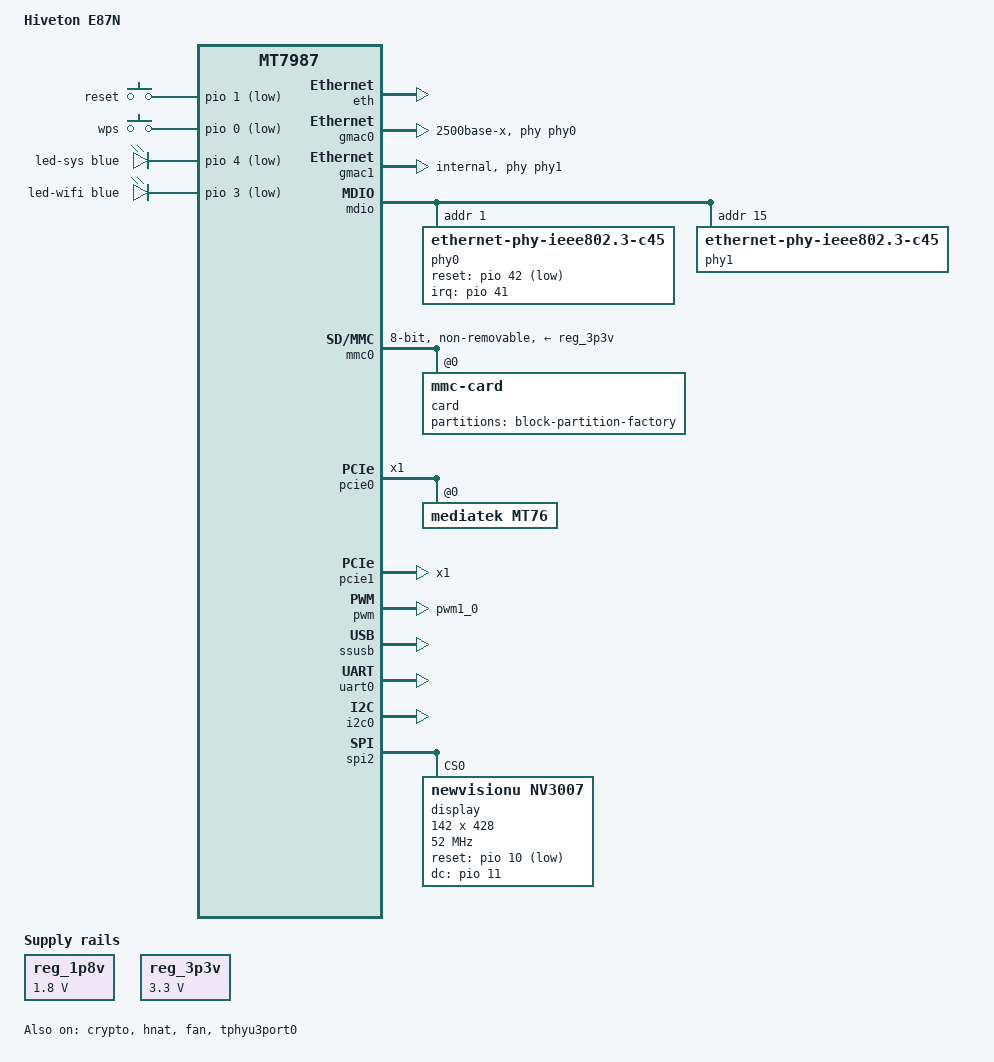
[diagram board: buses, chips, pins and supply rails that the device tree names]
// SPDX-License-Identifier: (GPL-2.0 OR MIT)

/dts-v1/;
#include "mt7987a.dtsi"
#include <dt-bindings/input/input.h>
#include <dt-bindings/regulator/richtek,rt5190a-regulator.h>

/ {
	model = "Hiveton E87N";
	compatible = "hiveton,e87n", "mediatek,mt7987a", "mediatek,mt7987";

	chosen {
		#bootargs = "console=ttyS0,115200n1 earlycon=uart8250,mmio32,0x11000000 root=PARTLABEL=rootfs rootwait pci=pcie_bus_perf";
		bootargs = "console=ttyS0,115200n1 earlycon=uart8250,mmio32,0x11000000 root=PARTLABEL=rootfs rootwait rootfstype=squashfs,f2fs fbcon=map:off fbcon=disable ";

	};

	gpio-keys {
		compatible = "gpio-keys";

		reset {
			label = "reset";
			linux,code = <KEY_RESTART>;
			gpios = <&pio 1 GPIO_ACTIVE_LOW>;
			debounce-interval = <10>;
		};

		wps {
			label = "wps";
			linux,code = <KEY_WPS_BUTTON>;
			gpios = <&pio 0 GPIO_ACTIVE_LOW>;
			debounce-interval = <10>;
		};
	};

	gpio-leds {
		compatible = "gpio-leds";

		led-sys {
			gpios = <&pio 4 GPIO_ACTIVE_LOW>;
			color = <LED_COLOR_ID_BLUE>;
			function = LED_FUNCTION_POWER;
		};

		led-wifi {
			gpios = <&pio 3 GPIO_ACTIVE_LOW>;
			color = <LED_COLOR_ID_BLUE>;
			function = LED_FUNCTION_STATUS;
		};
	};

	/* use pwm0 as led: share with fan/pwm_rgb */
	pwm_led {
		pinctrl-names = "default";
		pinctrl-0 = <&pwm_pins>;
		status = "disabled";

		led {
			pwms = <&pwm 0 50000 0>;
			max-brightness = <255>;
			active-low;
			linux,default-trigger = "default-on";
		};
	};

	reg_1p8v: regulator-1p8v {
		compatible = "regulator-fixed";
		regulator-name = "fixed-1.8V";
		regulator-min-microvolt = <1800000>;
		regulator-max-microvolt = <1800000>;
		regulator-boot-on;
		regulator-always-on;
	};

	reg_3p3v: regulator-3p3v {
		compatible = "regulator-fixed";
		regulator-name = "fixed-3.3V";
		regulator-min-microvolt = <3300000>;
		regulator-max-microvolt = <3300000>;
		regulator-boot-on;
		regulator-always-on;
	};
};

&firmware {
	status = "okay";
};

&crypto {
	status = "okay";
};

&hnat {
	mtketh-wan = "eth1";
	mtketh-lan = "eth0";
	mtketh-lan2 = "eth1";
	mtketh-ppd = "eth1";
	mtketh-max-gmac = <2>;
	mtketh-ppe-num = <2>;
	ext-devices-prefix = "usb","wwan","rmnet","eth3","eth2","phy";
	status = "okay";
};

&eth {
	status = "okay";
};

&fan {
	pinctrl-names = "default";
	pinctrl-0 = <&pwm_fan_pins>;
	compatible = "pwm-fan";
	#cooling-cells = <2>;
	cooling-levels = <0 10 20 30 40 50 60 70 80 90 100 110 120 130 140 150 160 170 180 190 200 210 220 240 255>;
	pwms = <&pwm 1 50000 0>;
	status = "okay";
};

&gmac0 {
	phy-mode = "2500base-x";
	phy-handle = <&phy0>;
	status = "okay";
};

&gmac1 {
	phy-mode = "internal";
	phy-handle = <&phy1>;
	status = "okay";
};

&mdio {
	/* RTL8221B-VB-CG 2.5Gbps PHY (away from power) eth0 */
	phy0: phy@1 {
		compatible = "ethernet-phy-ieee802.3-c45";
		reg = <1>;
		reset-gpios = <&pio 42 GPIO_ACTIVE_LOW>;
		reset-assert-us = <100000>;
		reset-deassert-us = <100000>;
		interrupt-parent = <&pio>;
		interrupts = <41 IRQ_TYPE_LEVEL_LOW>;
		realtek,aldps-enable;
	};

	/* built-in 2.5G Ethernet PHY (near power) eth1 */
	phy1: phy@15 {
		compatible = "ethernet-phy-ieee802.3-c45";
		reg = <15>;
		pinctrl-names = "i2p5gbe-led";
		pinctrl-0 = <&i2p5gbe_led0_pins>;
	};
};

&mmc0 {
	pinctrl-names = "default", "state_uhs";
                        pinctrl-0 = <&mmc_pins_default>;
                        pinctrl-1 = <&mmc_pins_uhs>;
                        bus-width = <8>;
                        max-frequency = <48000000>;
                        cap-mmc-highspeed;
                        vmmc-supply = <&reg_3p3v>;
                        non-removable;
                        status = "okay";

	card@0 {
		compatible = "mmc-card";
		reg = <0>;

		block {
			compatible = "block-device";

			partitions {
				block-partition-factory {
					partname = "factory";

					nvmem-layout {
						compatible = "fixed-layout";
						#address-cells = <1>;
						#size-cells = <1>;

						eeprom_factory_0: eeprom@0 {
							reg = <0x0 0x1000>;
						};

						macaddr_factory_24: macaddr@24 {
							compatible = "mac-base";
							reg = <0x24 0x6>;
							#nvmem-cell-cells = <1>;
						};

						macaddr_factory_2a: macaddr@2a {
                            compatible = "mac-base";
                            reg = <0x2a 0x6>;
                            #nvmem-cell-cells = <1>;
                        };
					};
				};
			};
		};
	};
};

&pcie0 {
	pinctrl-names = "default";
	pinctrl-0 = <&pcie0_pins>;
	status = "okay";

	pcie@0,0 {
		reg = <0x0000 0 0 0 0>;
		#address-cells = <3>;
		#size-cells = <2>;

		mt76@0,0 {
			compatible = "mediatek,mt76";
			reg = <0x0000 0 0 0 0>;

			nvmem-cells = <&eeprom_factory_0>;
			nvmem-cell-names = "eeprom";

			#address-cells = <1>;
			#size-cells = <0>;

			ieee80211-freq-limit = <2400000 2500000>,
					       <5170000 5835000>;
		};
	};
};

&pcie1 {
	status = "disabled";
};

&pio {
	pwm_fan_pins: pwm-fan-pins {
		mux {
			function = "pwm";
			groups = "pwm1_0";
		};
	};
};

&pwm {
	status = "okay";
	pinctrl-names = "default";
	pinctrl-0 = <&pwm_fan_pins>;
};

&ssusb {
	status = "okay";
	vusb33-supply = <&reg_3p3v>;
};

&tphyu3port0 {
	status = "okay";
};

&uart0 {
	pinctrl-names = "default";
	pinctrl-0 = <&uart0_pins>;
	status = "okay";
};

&i2c0 {
	pinctrl-names = "default";
	pinctrl-0 = <&i2c0_pins>;
	status = "okay";
};

&pcie0 {
	pinctrl-names = "default";
	pinctrl-0 = <&pcie0_pins>;
	num-lanes =<1>;
	status = "okay";
};

&pcie1 {
	pinctrl-names = "default";
	pinctrl-0 = <&pcie1_pins>;
	num-lanes =<1>;
	status = "okay";
};

&pwm {
	status = "okay";
};

&spi2 {
	pinctrl-names = "default";
	pinctrl-0 = <&spi2_flash_pins>;
	status = "okay";

	display@0 {
		compatible = "newvisionu,nv3007";
		reg = <0>;

		regwidth = <8>;
		buswidth = <8>;
		height = <428>;
		width = <142>;
		fps = <100>;
		rotate = <270>;
		reset-gpios = <&pio 10 GPIO_ACTIVE_LOW>;
		dc-gpios = <&pio 11 GPIO_ACTIVE_HIGH>;
		// backlight = <&backlight>;
		spi-max-frequency = <52000000>;
		status = "okay";
	};
};
